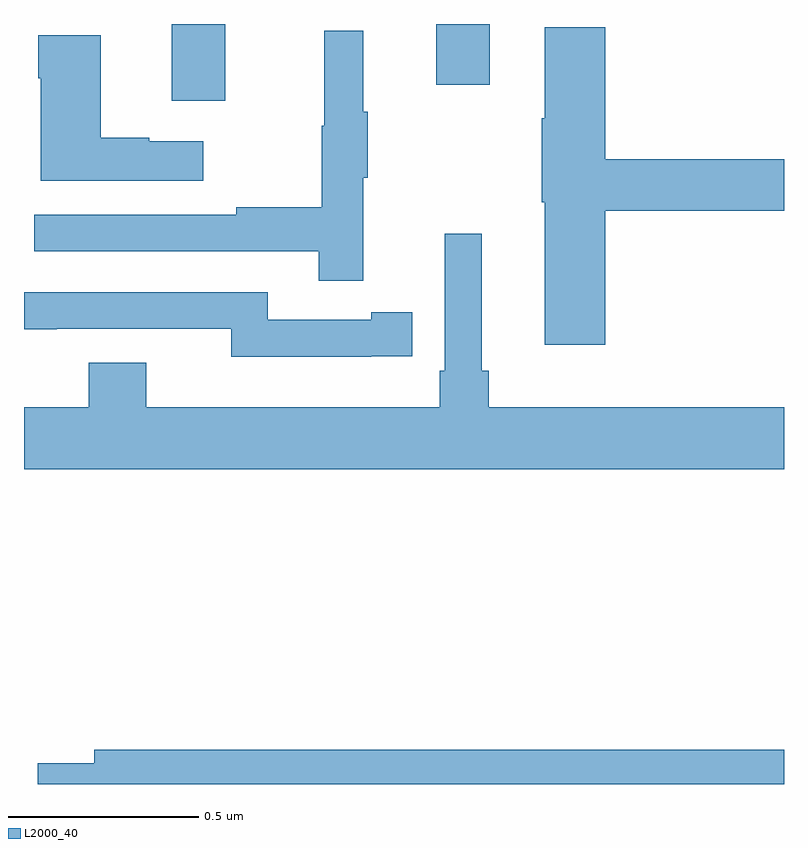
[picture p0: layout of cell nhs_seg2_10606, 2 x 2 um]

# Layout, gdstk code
import gdstk
lib = gdstk.Library(unit=1e-6, precision=1e-09)
def R(c, l, rs):  # rectangles x0, y0, x1, y1
    for r in rs: c.add(gdstk.rectangle(r[:2], r[2:], *l))
def P(c, l, *ps):  # polygons
    for p in ps: c.add(gdstk.Polygon(p, *l))
L2000_40 = (2000, 40)

nhs_seg2_10606 = lib.new_cell('nhs_seg2_10606')
R(nhs_seg2_10606, L2000_40, [(243.389,656.598,243.529,656.8), (244.085,656.64,244.225,656.8)])
P(nhs_seg2_10606, L2000_40, [(244.529,656.308),(245,656.308),(245,656.444),(244.529,656.444),(244.529,656.791),(244.37,656.791),(244.37,656.552),(244.363,656.552),(244.363,656.331),(244.37,656.331),(244.37,655.956),(244.529,655.956)],
  [(243.893,656.395),(243.904,656.395),(243.904,656.569),(243.893,656.569),(243.893,656.782),(243.79,656.782),(243.79,656.532),(243.783,656.532),(243.783,656.318),(243.559,656.318),(243.559,656.298),(243.027,656.298),(243.027,656.202),(243.775,656.202),(243.775,656.124),(243.893,656.124)],
  [(243.472,656.491),(243.329,656.491),(243.329,656.501),(243.202,656.501),(243.202,656.77),(243.037,656.77),(243.037,656.657),(243.044,656.657),(243.044,656.387),(243.472,656.387)],
  [(245,655.792),(244.223,655.792),(244.223,655.888),(244.204,655.888),(244.204,656.248),(244.107,656.248),(244.107,655.888),(244.094,655.888),(244.094,655.792),(243.322,655.792),(243.322,655.909),(243.17,655.909),(243.17,655.792),(243,655.792),(243,655.628),(245,655.628)],
  [(243.914,655.926),(244.022,655.926),(244.022,656.042),(243.914,656.042),(243.914,656.022),(243.642,656.022),(243.642,656.094),(243,656.094),(243,655.997),(243.086,655.997),(243.086,655.998),(243.546,655.998),(243.546,655.925),(243.914,655.925)],
  [(245,654.89),(243.185,654.89),(243.185,654.854),(243.036,654.854),(243.036,654.8),(245,654.8)])

lib.write_gds('nhs_seg2_10606.gds')
